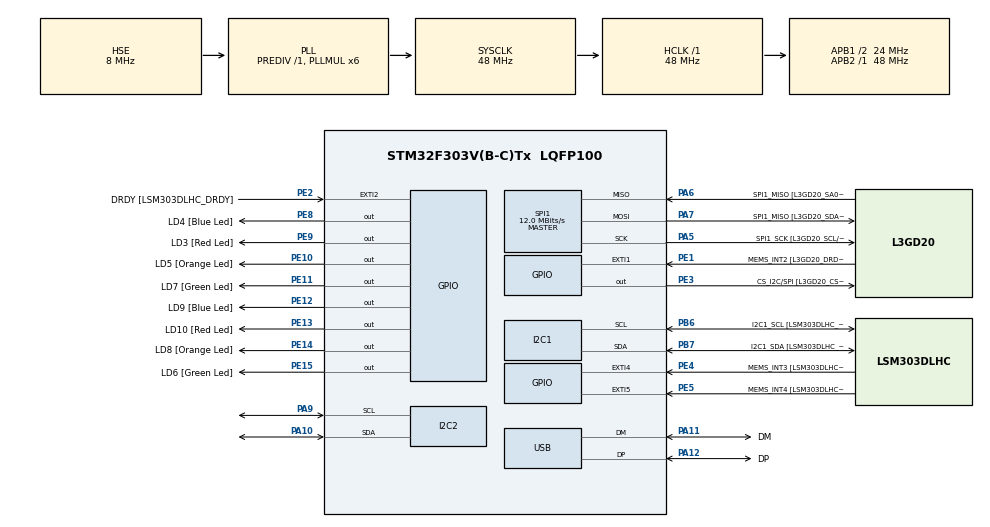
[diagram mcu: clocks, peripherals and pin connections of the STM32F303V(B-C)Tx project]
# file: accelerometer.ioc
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I2C1.Timing=0x2000090E
I2C1.Timing-I2C=0x2000090E
Mcu.Family=STM32F3
Mcu.Name=STM32F303V(B-C)Tx
Mcu.Package=LQFP100
NVIC.PriorityGroup=NVIC_PRIORITYGROUP_0
PA10.Mode=I2C
PA10.Signal=I2C2_SDA
PA11.GPIO_Label=DM
PA11.Mode=Device
PA11.Signal=USB_DM
PA12.GPIO_Label=DP
PA12.Mode=Device
PA12.Signal=USB_DP
PA13.GPIO_Label=SWDIO
PA13.Mode=Serial_Wire
PA13.Signal=SYS_JTMS-SWDIO
PA14.GPIO_Label=SWCLK
PA14.Mode=Serial_Wire
PA14.Signal=SYS_JTCK-SWCLK
PA5.GPIO_Label=SPI1_SCK [L3GD20_SCL/SPC]
PA5.Mode=Full_Duplex_Master
PA5.Signal=SPI1_SCK
PA6.GPIO_Label=SPI1_MISO [L3GD20_SA0/SDO]
PA6.Mode=Full_Duplex_Master
PA6.Signal=SPI1_MISO
PA7.GPIO_Label=SPI1_MISO [L3GD20_SDA/SDI/SDO]
PA7.Mode=Full_Duplex_Master
PA7.Signal=SPI1_MOSI
PA9.Mode=I2C
PA9.Signal=I2C2_SCL
PB3.GPIO_Label=SWO
PB3.Signal=SYS_JTDO-TRACESWO
PB6.GPIO_Label=I2C1_SCL [LSM303DLHC_SCL]
PB6.Mode=I2C
PB6.Signal=I2C1_SCL
PB7.GPIO_Label=I2C1_SDA [LSM303DLHC_SDA]
PB7.Mode=I2C
PB7.Signal=I2C1_SDA
PC14-OSC32_IN.GPIO_Label=OSC32_IN
PC14-OSC32_IN.Signal=RCC_OSC32_IN
PC15-OSC32_OUT.GPIO_Label=OSC32_OUT
PC15-OSC32_OUT.Signal=RCC_OSC32_OUT
PE1.GPIO_Label=MEMS_INT2 [L3GD20_DRDY/INT2]
PE1.GPIO_ModeDefaultEXTI=GPIO_MODE_EVT_RISING
PE1.Signal=GPXTI1
PE10.GPIO_Label=LD5 [Orange Led]
PE10.Signal=GPIO_Output
PE11.GPIO_Label=LD7 [Green Led]
PE11.Signal=GPIO_Output
PE12.GPIO_Label=LD9 [Blue Led]
PE12.Signal=GPIO_Output
PE13.GPIO_Label=LD10 [Red Led]
PE13.Signal=GPIO_Output
PE14.GPIO_Label=LD8 [Orange Led]
PE14.Signal=GPIO_Output
PE15.GPIO_Label=LD6 [Green Led]
PE15.Signal=GPIO_Output
PE2.GPIO_Label=DRDY [LSM303DLHC_DRDY]
PE2.GPIO_ModeDefaultEXTI=GPIO_MODE_EVT_RISING
PE2.Signal=GPXTI2
PE3.GPIO_Label=CS_I2C/SPI [L3GD20_CS_I2C/SPI]
PE3.Signal=GPIO_Output
PE4.GPIO_Label=MEMS_INT3 [LSM303DLHC_INT1]
PE4.GPIO_ModeDefaultEXTI=GPIO_MODE_EVT_RISING
PE4.Signal=GPXTI4
PE5.GPIO_Label=MEMS_INT4 [LSM303DLHC_INT2]
PE5.GPIO_ModeDefaultEXTI=GPIO_MODE_EVT_RISING
PE5.Signal=GPXTI5
PE8.GPIO_Label=LD4 [Blue Led]
PE8.Signal=GPIO_Output
PE9.GPIO_Label=LD3 [Red Led]
PE9.Signal=GPIO_Output
PF0-OSC_IN.GPIO_Label=OSC_IN
PF0-OSC_IN.Mode=HSE-External-Clock-Source
PF0-OSC_IN.Signal=RCC_OSC_IN
PF1-OSC_OUT.GPIO_Label=OSC_OUT
PF1-OSC_OUT.Signal=RCC_OSC_OUT
ProjectManager.HeapSize=0x200
ProjectManager.StackSize=0x400
ProjectManager.TargetToolchain=SW4STM32
RCC.AHBFreq_Value=48000000
RCC.APB1CLKDivider=RCC_HCLK_DIV2
RCC.APB1Freq_Value=24000000
RCC.APB1TimFreq_Value=48000000
RCC.APB2Freq_Value=48000000
RCC.APB2TimFreq_Value=48000000
RCC.CortexFreq_Value=48000000
RCC.HCLKFreq_Value=48000000
RCC.HSE_VALUE=8000000
RCC.HSI_VALUE=8000000
RCC.LSE_VALUE=32768
RCC.PLLMUL=RCC_PLL_MUL6
RCC.SYSCLKFreq_VALUE=48000000
RCC.SYSCLKSourceVirtual=RCC_SYSCLKSOURCE_PLLCLK
RCC.USBFreq_Value=48000000
SPI1.BaudRatePrescaler=SPI_BAUDRATEPRESCALER_4
SPI1.BaudRatePrescaler-Full_Duplex_Master=SPI_BAUDRATEPRESCALER_2
SPI1.CalculateBaudRate=12.0 MBits/s
SPI1.CalculateBaudRate-Full_Duplex_Master=24.0 MBits/s
SPI1.Direction=SPI_DIRECTION_2LINES
SPI1.Mode=SPI_MODE_MASTER
SPI1.Mode-Full_Duplex_Master=SPI_MODE_MASTER
SPI1.VirtualType=VM_MASTER
board=STM32F3DISCOVERY

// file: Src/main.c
/**
  ******************************************************************************
  * @file           : main.c
  * @brief          : Main program body
  ******************************************************************************
  ** This notice applies to any and all portions of this file
  * that are not between comment pairs USER CODE BEGIN and
  * USER CODE END. Other portions of this file, whether
  * inserted by the user or by software development tools
  * are owned by their respective copyright owners.
  *
  * COPYRIGHT(c) 2019 STMicroelectronics
  *
  * Redistribution and use in source and binary forms, with or without modification,
  * are permitted provided that the following conditions are met:
  *   1. Redistributions of source code must retain the above copyright notice,
  *      this list of conditions and the following disclaimer.
  *   2. Redistributions in binary form must reproduce the above copyright notice,
  *      this list of conditions and the following disclaimer in the documentation
  *      and/or other materials provided with the distribution.
  *   3. Neither the name of STMicroelectronics nor the names of its contributors
  *      may be used to endorse or promote products derived from this software
  *      without specific prior written permission.
  *
  * THIS SOFTWARE IS PROVIDED BY THE COPYRIGHT HOLDERS AND CONTRIBUTORS "AS IS"
  * AND ANY EXPRESS OR IMPLIED WARRANTIES, INCLUDING, BUT NOT LIMITED TO, THE
  * IMPLIED WARRANTIES OF MERCHANTABILITY AND FITNESS FOR A PARTICULAR PURPOSE ARE
  * DISCLAIMED. IN NO EVENT SHALL THE COPYRIGHT HOLDER OR CONTRIBUTORS BE LIABLE
  * FOR ANY DIRECT, INDIRECT, INCIDENTAL, SPECIAL, EXEMPLARY, OR CONSEQUENTIAL
  * DAMAGES (INCLUDING, BUT NOT LIMITED TO, PROCUREMENT OF SUBSTITUTE GOODS OR
  * SERVICES; LOSS OF USE, DATA, OR PROFITS; OR BUSINESS INTERRUPTION) HOWEVER
  * CAUSED AND ON ANY THEORY OF LIABILITY, WHETHER IN CONTRACT, STRICT LIABILITY,
  * OR TORT (INCLUDING NEGLIGENCE OR OTHERWISE) ARISING IN ANY WAY OUT OF THE USE
  * OF THIS SOFTWARE, EVEN IF ADVISED OF THE POSSIBILITY OF SUCH DAMAGE.
  *
  ******************************************************************************
  */
#include "main.h"
#include "stm32f3xx_hal.h"
#include "i2c.h"
#include "spi.h"
#include "usb.h"
#include "gpio.h"

/* USER CODE BEGIN Includes */
#include "stm32f3_discovery_accelerometer.h"
#include "stm32f3_discovery_gyroscope.h"
#include "I2C_LCD.h"
#include "math.h"
/* USER CODE END Includes */

/* USER CODE BEGIN PV */
/* Private variables ---------------------------------------------------------*/

/* USER CODE END PV */

void SystemClock_Config(void);

/* USER CODE BEGIN PFP */
/* Private function prototypes -----------------------------------------------*/

/* USER CODE END PFP */

int main(void)
{

  /* MCU Configuration----------------------------------------------------------*/

  /* Reset of all peripherals, Initializes the Flash interface and the Systick. */
  HAL_Init();

  /* Configure the system clock */
  SystemClock_Config();

  /* Initialize all configured peripherals */
  MX_GPIO_Init();
  MX_I2C1_Init();
  MX_SPI1_Init();
  MX_USB_PCD_Init();
  MX_I2C2_Init();
  /* USER CODE BEGIN 2 */
  LCD_Init(0x27<<1, hi2c2);
  if(BSP_ACCELERO_Init() != HAL_OK)
    {
      /* Initialization Error */
	  LCD_Print(0, "Error initializing H");
	  LCD_Print(1, "AL.");
      while(1){}
    }
  if(BSP_GYRO_Init() != HAL_OK)
      {
        /* Initialization Error */
	  LCD_Print(0, "Error initializing H");
	  LCD_Print(1, "AL.");
        while(1){}
      }
  /* USER CODE END 2 */

  /* Infinite loop */
  /* USER CODE BEGIN WHILE */
  int16_t buffer[3] = {0};
  float gyro_buffer[3] = {0.0};
  double m_l = 0.0;
  float m_l_g = 0.0;
  double m_x = 0.0;
  double m_y = 0.0;
  double m_z = 0.0;
  float m_x_g = 0.0;
  float m_y_g = 0.0;
  float m_z_g = 0.0;
  while (1)
  {
	  LCD_Clear();
	  BSP_ACCELERO_GetXYZ(buffer);
	  double x = (double)(buffer[0]/16)/10000.0;
	  double y = (double)(buffer[1]/16)/1000.0;
	  double z = (double)(buffer[2]/16)/1000.0;
	  double l = (double)sqrt(x*x+y*y+z*z);
	  BSP_GYRO_GetXYZ(gyro_buffer);
	  float x_g = (float)(gyro_buffer[0])/1000.0;
	  float y_g = (float)(gyro_buffer[1])/1000.0;
	  float z_g = (float)(gyro_buffer[2])/1000.0;
	  float l_g = (float)sqrt(x_g*x_g+y_g*y_g+z_g*z_g);

	  LCD_PPrint(0, 0, "ACCELERO.X:");
	  LCD_PPrintDouble(0, 11, x);
	  LCD_PPrint(1, 0,  "Y:");
	  LCD_PPrintDouble(1, 2, y);
	  LCD_PPrint(1, 9, "Z:");
	  LCD_PPrintDouble(1, 11, z);

	  LCD_PPrint(2, 0, "GYRO.X:");
	  LCD_PPrintDouble(2, 7, x_g);
	  LCD_PPrint(3, 0, "Y:");
	  LCD_PPrintFloat(3, 2, y_g);
	  LCD_PPrint(3, 9, "Z:");
	  LCD_PPrintFloat(3, 11, z_g);

	  HAL_Delay(1000);

	  LCD_Clear();
	  LCD_PPrint(0, 0, "ACCELERO LENGTH:");
	  LCD_PPrintDouble(1, 0, l);
	  LCD_PPrint(2, 0, "GYRO LENGTH:");
	  LCD_PPrintFloat(3, 0, l_g);

	  HAL_Delay(1000);

	  LCD_Clear();

	  if (m_l < l){
		  m_l = l;
		  m_x = x;
		  m_y = y;
		  m_z = z;
	  }

	  if (m_l_g < l_g){
		  m_l_g = l_g;
		  m_x_g = x_g;
		  m_y_g = y_g;
		  m_z_g = z_g;
	  }

	  LCD_PPrint(0, 0, "ACCELEROM.X:");
	  LCD_PPrintDouble(0, 12, m_x);
	  LCD_PPrint(1, 0,  "Y:");
	  LCD_PPrintDouble(1, 2, m_y);
	  LCD_PPrint(1, 9, "Z:");
	  LCD_PPrintDouble(1, 11, m_z);

	  LCD_PPrint(2, 0, "GYROM.X:");
	  LCD_PPrintDouble(2, 8, m_x_g);
	  LCD_PPrint(3, 0, "Y:");
	  LCD_PPrintFloat(3, 2, m_y_g);
	  LCD_PPrint(3, 9, "Z:");
	  LCD_PPrintFloat(3, 11, m_z_g);

	  HAL_Delay(1000);

	  LCD_Clear();
	  LCD_PPrint(0, 0, "ACCELERO MAX LENGTH:");
	  LCD_PPrintDouble(1, 0, m_l);
	  LCD_PPrint(2, 0, "GYRO MAX LENGTH:");
	  LCD_PPrintFloat(3, 0, m_l_g);
	  HAL_Delay(1000);

  /* USER CODE END WHILE */

  }

}

void SystemClock_Config(void)
{

  RCC_OscInitTypeDef RCC_OscInitStruct;
  RCC_ClkInitTypeDef RCC_ClkInitStruct;
  RCC_PeriphCLKInitTypeDef PeriphClkInit;

    /**Initializes the CPU, AHB and APB busses clocks
    */
  RCC_OscInitStruct.OscillatorType = RCC_OSCILLATORTYPE_HSI|RCC_OSCILLATORTYPE_HSE;
  RCC_OscInitStruct.HSEState = RCC_HSE_BYPASS;
  RCC_OscInitStruct.HSEPredivValue = RCC_HSE_PREDIV_DIV1;
  RCC_OscInitStruct.HSIState = RCC_HSI_ON;
  RCC_OscInitStruct.HSICalibrationValue = 16;
  RCC_OscInitStruct.PLL.PLLState = RCC_PLL_ON;
  RCC_OscInitStruct.PLL.PLLSource = RCC_PLLSOURCE_HSE;
  RCC_OscInitStruct.PLL.PLLMUL = RCC_PLL_MUL6;
  if (HAL_RCC_OscConfig(&RCC_OscInitStruct) != HAL_OK)
  {
    _Error_Handler(__FILE__, __LINE__);
  }

    /**Initializes the CPU, AHB and APB busses clocks
    */
  RCC_ClkInitStruct.ClockType = RCC_CLOCKTYPE_HCLK|RCC_CLOCKTYPE_SYSCLK
                              |RCC_CLOCKTYPE_PCLK1|RCC_CLOCKTYPE_PCLK2;
  RCC_ClkInitStruct.SYSCLKSource = RCC_SYSCLKSOURCE_PLLCLK;
  RCC_ClkInitStruct.AHBCLKDivider = RCC_SYSCLK_DIV1;
  RCC_ClkInitStruct.APB1CLKDivider = RCC_HCLK_DIV2;
  RCC_ClkInitStruct.APB2CLKDivider = RCC_HCLK_DIV1;

  if (HAL_RCC_ClockConfig(&RCC_ClkInitStruct, FLASH_LATENCY_1) != HAL_OK)
  {
    _Error_Handler(__FILE__, __LINE__);
  }

  PeriphClkInit.PeriphClockSelection = RCC_PERIPHCLK_USB|RCC_PERIPHCLK_I2C1
                              |RCC_PERIPHCLK_I2C2;
  PeriphClkInit.I2c1ClockSelection = RCC_I2C1CLKSOURCE_HSI;
  PeriphClkInit.I2c2ClockSelection = RCC_I2C2CLKSOURCE_HSI;
  PeriphClkInit.USBClockSelection = RCC_USBCLKSOURCE_PLL;
  if (HAL_RCCEx_PeriphCLKConfig(&PeriphClkInit) != HAL_OK)
  {
    _Error_Handler(__FILE__, __LINE__);
  }

    /**Configure the Systick interrupt time
    */
  HAL_SYSTICK_Config(HAL_RCC_GetHCLKFreq()/1000);

    /**Configure the Systick
    */
  HAL_SYSTICK_CLKSourceConfig(SYSTICK_CLKSOURCE_HCLK);

  /* SysTick_IRQn interrupt configuration */
  HAL_NVIC_SetPriority(SysTick_IRQn, 0, 0);
}

void _Error_Handler(char *file, int line)
{
  while(1)
  {
  }
}

/************************ (C) COPYRIGHT STMicroelectronics *****END OF FILE****/
